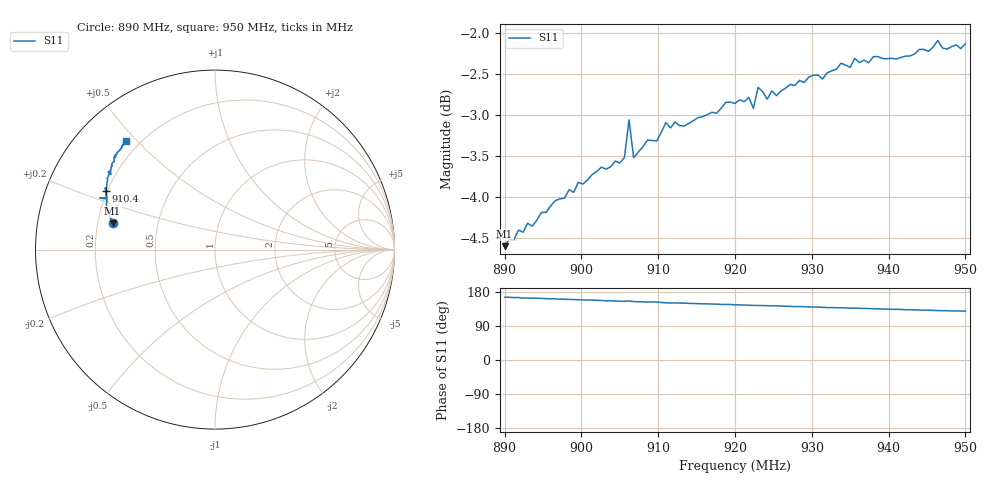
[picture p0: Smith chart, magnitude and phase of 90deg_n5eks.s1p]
# HZ S RI R 50
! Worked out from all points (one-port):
!   101 points, 890 MHz to 950 MHz, reference 50 ohm
!   lowest |S11| = -4.6 dB at 890 MHz (marker M1), VSWR 3.87, Z = 13.1 + j5.9 ohm
!   |S11| at or under -10 dB: nowhere
!   S11 on the Smith chart (normalised r, x): 890 MHz: 0.26, +0.12; 910.4 MHz: 0.19, +0.24; 950 MHz: 0.15, +0.47
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8.9e8  -0.5704 0.1467
8.978e8  -0.5938 0.2108
9.026e8  -0.6057 0.2575
9.05e8  -0.6008 0.2782
9.056e8  -0.6043 0.2825
9.062e8  -0.642 0.2875
9.068e8  -0.6009 0.2897
9.086e8  -0.6081 0.3123
9.098e8  -0.6081 0.3107
9.104e8  -0.6093 0.3263
9.11e8  -0.6116 0.3421
9.128e8  -0.6051 0.3474
9.2e8  -0.5956 0.4041
9.218e8  -0.5912 0.4212
9.224e8  -0.5779 0.4207
9.23e8  -0.5953 0.4332
9.242e8  -0.5813 0.4318
9.278e8  -0.5726 0.4662
9.338e8  -0.5644 0.5115
9.35e8  -0.5515 0.5189
9.356e8  -0.5613 0.5226
9.362e8  -0.5513 0.5266
9.428e8  -0.5219 0.5656
9.446e8  -0.5145 0.5818
9.452e8  -0.5152 0.5783
9.464e8  -0.509 0.5996
9.476e8  -0.5003 0.5944
9.5e8  -0.4941 0.6072
